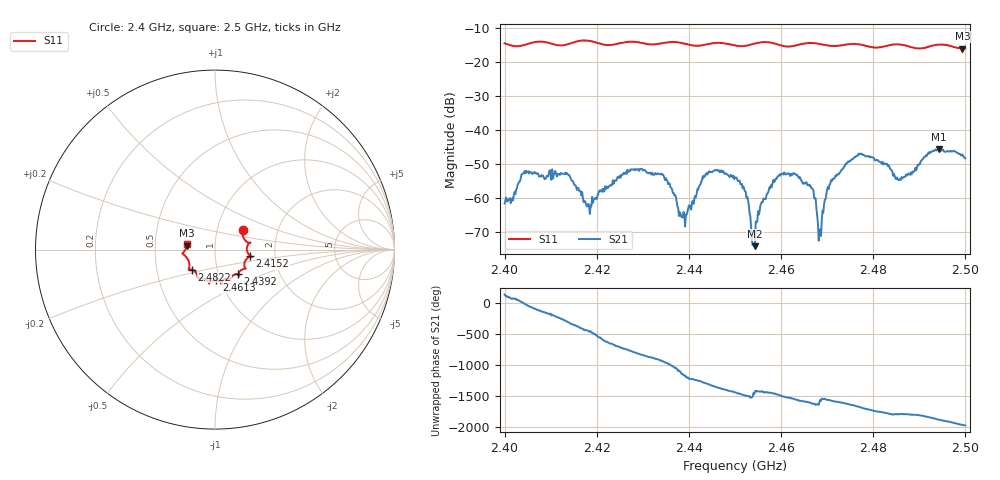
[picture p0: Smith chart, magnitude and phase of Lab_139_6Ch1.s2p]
# Hz S RI R 50
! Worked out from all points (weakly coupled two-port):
!   601 points, 2.4 GHz to 2.5 GHz, reference 50 ohm
!   highest |S21| = -45.50 dB at 2.4942 GHz (marker M1); lowest = -74.1 dB at 2.4543 GHz (marker M2)
!   lowest |S11| = -15.9 dB at 2.4993 GHz (marker M3), VSWR 1.38, Z = 36.3 + j1.62 ohm
!   |S11| at or under -10 dB: start of sweep to end of sweep
!   S12 and S22 are empty: the file has one direction only
!   S11 on the Smith chart (normalised r, x): 2.4 GHz: 1.33, +0.31; 2.4152 GHz: 1.48, -0.11; 2.4392 GHz: 1.23, -0.35; 2.4613 GHz: 0.96, -0.34; 2.4822 GHz: 0.76, -0.17; 2.5 GHz: 0.73, +0.05
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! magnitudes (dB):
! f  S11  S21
! 2.4 GHz  -14.4  -61.5
! 2.4047 GHz  -14.7  -51.9
! 2.4152 GHz  -14.0  -56.1
! 2.4167 GHz  -13.6  -59.2
! 2.4333 GHz  -14.6  -52.8
! 2.4392 GHz  -14.6  -68.3
! 2.4438 GHz  -14.7  -52.6
! 2.45 GHz  -15.0  -53.9
! 2.4523 GHz  -15.1  -58.1
! 2.4543 GHz  -14.4  -74.1
! 2.456 GHz  -14.1  -61.2
! 2.4613 GHz  -15.3  -52.8
! 2.4667 GHz  -14.3  -57.0
! 2.4683 GHz  -14.6  -69.9
! 2.4705 GHz  -15.1  -55.9
! 2.4743 GHz  -14.7  -49.6
! 2.4822 GHz  -15.4  -50.0
! 2.4833 GHz  -15.0  -50.3
! 2.4858 GHz  -14.7  -54.3
! 2.4942 GHz  -14.8  -45.5
! 2.4993 GHz  -15.9  -47.1
! 2.5 GHz  -15.8  -48.3
